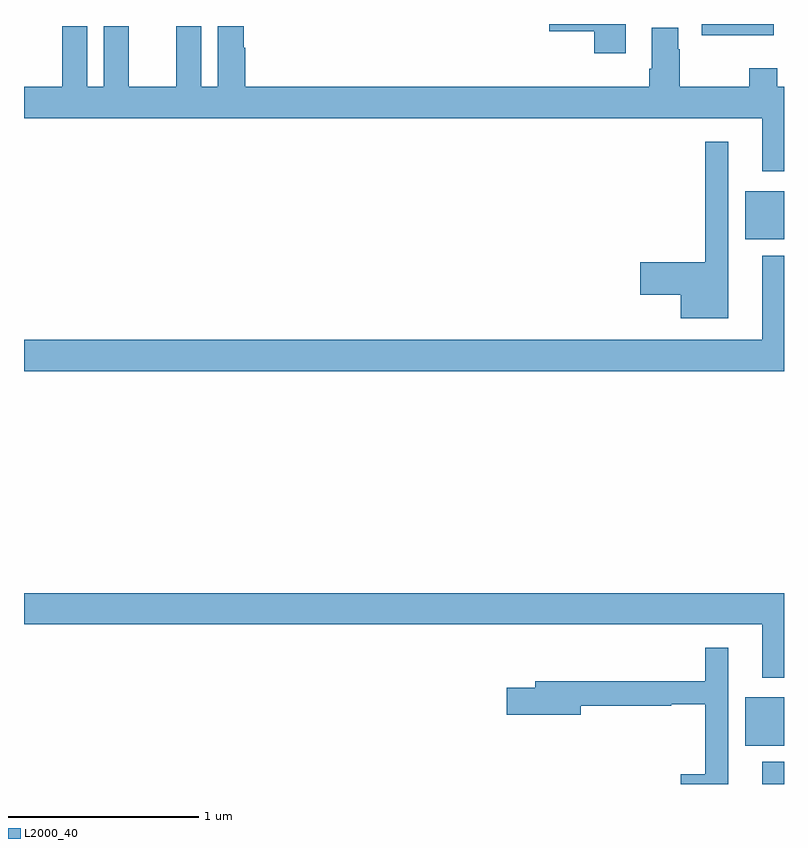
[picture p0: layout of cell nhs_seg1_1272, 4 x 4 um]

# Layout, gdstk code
import gdstk
lib = gdstk.Library(unit=1e-6, precision=1e-09)
def R(c, l, rs):  # rectangles x0, y0, x1, y1
    for r in rs: c.add(gdstk.rectangle(r[:2], r[2:], *l))
def P(c, l, *ps):  # polygons
    for p in ps: c.add(gdstk.Polygon(p, *l))
L2000_40 = (2000, 40)

nhs_seg1_1272 = lib.new_cell('nhs_seg1_1272')
R(nhs_seg1_1272, L2000_40, [(182.885,576.199,183,576.316), (182.795,576.401,183,576.655), (182.795,579.065,183,579.319), (182.568,580.139,182.945,580.199)])
P(nhs_seg1_1272, L2000_40, [(182.167,580.199),(181.764,580.199),(181.764,580.162),(182,580.162),(182,580.044),(182.167,580.044)],
  [(183,579.868),(182.964,579.868),(182.964,579.967),(182.818,579.967),(182.818,579.868),(182.451,579.868),(182.451,580.067),(182.443,580.067),(182.443,580.18),(182.303,580.18),(182.303,579.964),(182.291,579.964),(182.291,579.868),(180.164,579.868),(180.164,580.073),(180.157,580.073),(180.157,580.186),(180.02,580.186),(180.02,579.868),(179.932,579.868),(179.932,580.186),(179.801,580.186),(179.801,579.868),(179.551,579.868),(179.551,580.186),(179.42,580.186),(179.42,579.868),(179.332,579.868),(179.332,580.186),(179.201,580.186),(179.201,579.868),(179,579.868),(179,579.704),(182.885,579.704),(182.885,579.423),(183,579.423)],
  [(182.707,579.58),(182.586,579.58),(182.586,578.945),(182.244,578.945),(182.244,578.774),(182.456,578.774),(182.456,578.651),(182.707,578.651)],
  [(183,578.98),(182.885,578.98),(182.885,578.536),(179,578.536),(179,578.372),(183,578.372)],
  [(183,577.204),(179,577.204),(179,577.04),(182.885,577.04),(182.885,576.759),(183,576.759)],
  [(182.707,576.916),(182.586,576.916),(182.586,576.739),(181.691,576.739),(181.691,576.705),(181.542,576.705),(181.542,576.563),(181.93,576.563),(181.93,576.61),(182.407,576.61),(182.407,576.618),(182.586,576.618),(182.586,576.25),(182.456,576.25),(182.456,576.199),(182.707,576.199)])

lib.write_gds('nhs_seg1_1272.gds')
